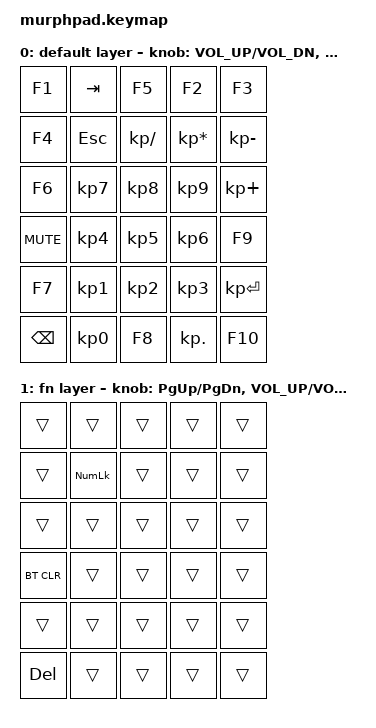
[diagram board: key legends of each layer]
/*
 * Copyright (c) 2021 The ZMK Contributors
 *
 * SPDX-License-Identifier: MIT
 */

#include <behaviors.dtsi>
#include <dt-bindings/zmk/keys.h>
#include <dt-bindings/zmk/bt.h>
#include <dt-bindings/zmk/rgb.h>


#define TIMEOUT 300

&encoder_1 {
    status = "okay";
};

&encoder_2 {
    status = "okay";
};

/ {
    combos {
        compatible = "zmk,combos";
        combo_btclr {
            timeout-ms = <TIMEOUT>;
            key-positions = <1 6>;
            bindings = <&bt BT_CLR>;
        };
        combo_reset {
            timeout-ms = <TIMEOUT>;
            key-positions = <1 3>;
            bindings = <&reset>;
        };
        combo_bootloader {
            timeout-ms = <TIMEOUT>;
            key-positions = <1 2>;
            bindings = <&bootloader>;
        };
        combo_bt_nxt {
            timeout-ms = <TIMEOUT>;
            key-positions = <1 4>;
            bindings = <&bt BT_NXT>;
        };
    };
    
    sensors {
        compatible = "zmk,keymap-sensors";
        sensors = <&encoder_1 &encoder_2>;
    };


    keymap0: keymap {
        compatible = "zmk,keymap";

        default_layer {
            label = "default layer";
            bindings = <
                &kp F1           &kp TAB      &kp F5          &kp F2            &kp F3   
                &kp F4           &kp ESC      &kp KP_DIVIDE   &kp KP_MULTIPLY   &kp KP_MINUS    
                &kp F6           &kp KP_N7    &kp KP_N8       &kp KP_N9         &kp KP_PLUS   
                &kp C_MUTE       &kp KP_N4    &kp KP_N5       &kp KP_N6         &kp F9
                &kp F7           &kp KP_N1    &kp KP_N2       &kp KP_N3         &kp KP_ENTER
                &kp BSPC         &kp KP_N0    &kp F8          &kp KP_DOT        &kp F10
            >;
            sensor-bindings = <&inc_dec_kp C_VOL_UP C_VOL_DN &inc_dec_kp PG_UP PG_DN>;

        }; 
        
        fn_layer {
            label = "fn layer";
            bindings = <
                &trans      &trans     &trans        &trans          &trans  
                &trans      &kp KP_NUM &trans        &trans          &trans     
                &trans      &trans     &trans        &trans             &trans
                &bt BT_CLR  &trans     &trans        &trans          &trans    
                &trans      &trans     &trans        &trans          &trans
                &kp DEL        &trans     &trans        &trans          &trans           
            >;  
            sensor-bindings = <&inc_dec_kp PG_UP PG_DN &inc_dec_kp C_VOL_UP C_VOL_DN>;
                
        };
    };
};
